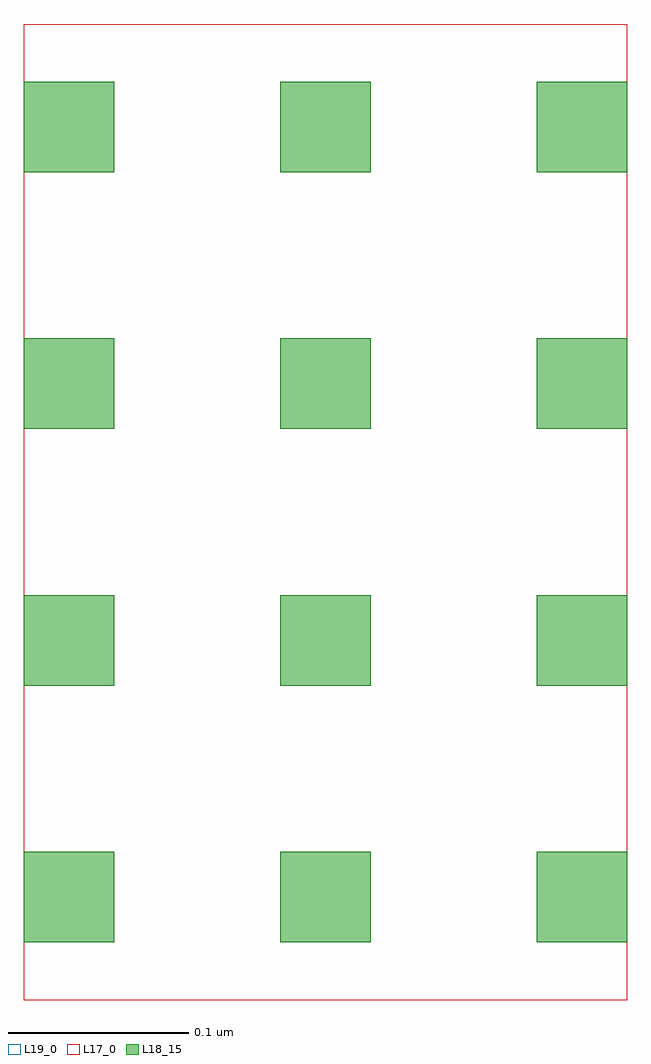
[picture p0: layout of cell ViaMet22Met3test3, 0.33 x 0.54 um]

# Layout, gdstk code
import gdstk
lib = gdstk.Library(unit=1e-6, precision=1e-09)
def R(c, l, rs):  # rectangles x0, y0, x1, y1
    for r in rs: c.add(gdstk.rectangle(r[:2], r[2:], *l))
def A(c, l, x, y, w, h, nx, ny, dx, dy):  # array of equal rectangles
    R(c, l, [(x+i*dx, y+j*dy, x+i*dx+w, y+j*dy+h) for i in range(nx) for j in range(ny)])
L17_0 = (17, 0)
L18_15 = (18, 15)
L19_0 = (19, 0)

viamet22met3test3 = lib.new_cell('ViaMet22Met3test3')
R(viamet22met3test3, L17_0, [(-0.167,-0.27,0.167,0.27)])
A(viamet22met3test3, L18_15, -0.167, -0.238, 0.05, 0.05, 3, 4, 0.142, 0.142)
R(viamet22met3test3, L19_0, [(-0.167,-0.27,0.167,0.27)])

lib.write_gds('ViaMet22Met3test3.gds')
